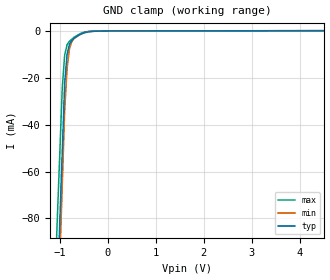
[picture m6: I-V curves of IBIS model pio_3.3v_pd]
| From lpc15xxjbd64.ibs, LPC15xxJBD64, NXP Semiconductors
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[Model] pio_3.3v_pd
Model_type Input
Vinl = 990.000mV
Vinh = 2.31000V
C_comp 598.000fF 598.000fF 598.000fF
| variable typ   min   max
[Voltage Range] 3.30000V 3.00000V 3.60000V
[POWER Clamp Reference] 3.30000V 3.00000V 3.60000V
[GND Clamp Reference] 0.00000V 0.00000V 0.00000V
[Temperature Range]   25   85   -40
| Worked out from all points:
|   GND clamp passes 1 mA (typ) near -0.52 V on its own axis
[GND Clamp]
-3.3V     -1.418A    -1.55A     -1.295A
-950mV    -51.27mA   -65.47mA   -24.26mA
-900mV    -22.19mA   -33.9mA    -10.29mA
-850mV    -9.943mA   -16.12mA   -5.882mA
-800mV    -5.683mA   -7.62mA    -4.406mA
-750mV    -4.055mA   -4.522mA   -3.521mA
-700mV    -3.054mA   -3.238mA   -2.636mA
-550mV    -1.273mA   -1.291mA   -878.5uA
-400mV    -401.9uA   -298.7uA   -198uA
-200mV    -101.1uA   -50.06uA   -18.15uA
6.6V      134.1uA    133.5uA    143.2uA
[POWER Clamp]
-3.3V     0A         0A         0A
6.6V      0A         0A         0A
